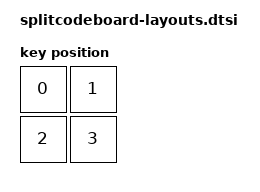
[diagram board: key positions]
///////////////////////////////////////////////////////////////////////////////
// Copyright (c) 2026 SuperCode Studios
// https://scstudios.tech
// SplitCodeBoard Version 1.0.0
// Licence: GNU Affero General Public License v3.0 only (AGPL-3.0-only)
// SPDX-License-Identifier: AGPL-3.0-only
// Maintainer: SuperCode Studios
///////////////////////////////////////////////////////////////////////////////

// See https://zmk.dev/docs/development/hardware-integration/physical-layouts
// for how to configure this.

#include <physical_layouts.dtsi>

/ {
    default_layout: default_layout {
        compatible = "zmk,physical-layout";
        display-name = "Default Layout";
        transform = <&default_transform>;
        kscan = <&kscan>;

        // Edit this to define the positions and sizes of the keys, or remove it
        // if your keyboard will not support ZMK Studio.
        // https://zmk.dev/docs/development/hardware-integration/physical-layouts#optional-keys-property
        keys  //                     w   h    x    y     rot    rx    ry
            = <&key_physical_attrs 100 100    0    0       0     0     0>
            , <&key_physical_attrs 100 100  100    0       0     0     0>
            , <&key_physical_attrs 100 100    0  100       0     0     0>
            , <&key_physical_attrs 100 100  100  100       0     0     0>
            ;
    };
};
